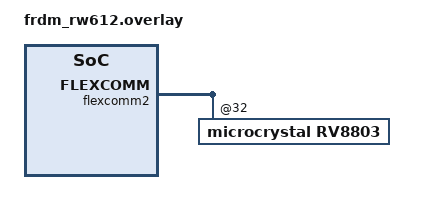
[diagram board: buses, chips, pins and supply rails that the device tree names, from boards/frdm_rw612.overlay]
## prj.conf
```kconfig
# Enable Peripheral
CONFIG_RTC=y

# Enable Bluetooth
CONFIG_BT=y
CONFIG_BT_PERIPHERAL=y
CONFIG_BT_DEVICE_NAME="ZephyrCTS"
CONFIG_BT_CTS=y

# Settings - Used to store real-time device configuration to flash.
CONFIG_FLASH=y
CONFIG_FLASH_PAGE_LAYOUT=y
CONFIG_FLASH_MAP=y
CONFIG_STREAM_FLASH=y
CONFIG_MPU_ALLOW_FLASH_WRITE=y

CONFIG_LOG=y

# Enable MCUmgr and dependencies.
CONFIG_NET_BUF=y
CONFIG_ZCBOR=y
CONFIG_CRC=y
CONFIG_MCUMGR=y
CONFIG_STREAM_FLASH=y
CONFIG_FLASH_MAP=y

# Some command handlers require a large stack.
CONFIG_SYSTEM_WORKQUEUE_STACK_SIZE=2304
CONFIG_MAIN_STACK_SIZE=2048

# Allow for large Bluetooth data packets.
CONFIG_BT_L2CAP_TX_MTU=498
CONFIG_BT_BUF_ACL_TX_SIZE=502
CONFIG_BT_BUF_ACL_RX_SIZE=502

# Enable the Bluetooth mcumgr transport (unauthenticated).
CONFIG_MCUMGR_TRANSPORT_BT=y
CONFIG_MCUMGR_TRANSPORT_BT_CONN_PARAM_CONTROL=y

# Enable the mcumgr Packet Reassembly feature over Bluetooth and its configuration dependencies.
# MCUmgr buffer size is optimized to fit one SMP packet divided into five Bluetooth Write Commands,
# transmitted with the maximum possible MTU value: 498 bytes.
CONFIG_MCUMGR_TRANSPORT_BT_REASSEMBLY=y
CONFIG_MCUMGR_TRANSPORT_NETBUF_SIZE=2475
CONFIG_MCUMGR_TRANSPORT_WORKQUEUE_STACK_SIZE=4608

# Disable Bluetooth ping support
CONFIG_BT_CTLR_LE_PING=n

# Enable most core commands.
CONFIG_FLASH=y
CONFIG_IMG_MANAGER=y
CONFIG_MCUMGR_GRP_IMG=y
CONFIG_MCUMGR_GRP_OS=y

# Ensure an MCUboot-compatible binary is generated.
CONFIG_BOOTLOADER_MCUBOOT=y
```

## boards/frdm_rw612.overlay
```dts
/* SPDX-License-Identifier: Apache-2.0 */

/ {
	aliases {
		rtc = &rv8803;
	};
};

&flexcomm2 {

	rv8803: rv8803@32 {
		compatible = "microcrystal,rv8803";
		status = "okay";
		reg = <0x32>;
	};
};
```

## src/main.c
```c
/*
 * Copyright (c) 2025, Dipak Shetty
 *
 * SPDX-License-Identifier: Apache-2.0
 */

#include <zephyr/kernel.h>
#include <zephyr/device.h>
#include <zephyr/drivers/rtc.h>
#include <zephyr/sys/util.h>

#include <zephyr/bluetooth/bluetooth.h>
#include <zephyr/bluetooth/hci.h>
#include <zephyr/bluetooth/conn.h>
#include <zephyr/bluetooth/uuid.h>
#include <zephyr/bluetooth/gatt.h>
#include <zephyr/bluetooth/services/cts.h>

#include <app_version.h>

const struct device *const rtc = DEVICE_DT_GET(DT_ALIAS(rtc));

static bool cts_ntf_enabled;

static const struct bt_data ad[] = {
	BT_DATA_BYTES(BT_DATA_FLAGS, (BT_LE_AD_GENERAL | BT_LE_AD_NO_BREDR)),
	BT_DATA_BYTES(BT_DATA_UUID16_ALL, BT_UUID_16_ENCODE(BT_UUID_CTS_VAL)),
#if defined(CONFIG_BT_EXT_ADV)
	BT_DATA(BT_DATA_NAME_COMPLETE, CONFIG_BT_DEVICE_NAME, sizeof(CONFIG_BT_DEVICE_NAME) - 1),
#endif /* CONFIG_BT_EXT_ADV */
};

#if !defined(CONFIG_BT_EXT_ADV)
static const struct bt_data sd[] = {
	BT_DATA(BT_DATA_NAME_COMPLETE, CONFIG_BT_DEVICE_NAME, sizeof(CONFIG_BT_DEVICE_NAME) - 1),
};
#endif /* !CONFIG_BT_EXT_ADV */

enum {
	STATE_CONNECTED,
	STATE_DISCONNECTED,
	STATE_BITS,
};

static ATOMIC_DEFINE(state, STATE_BITS);

static void adv_work_handler(struct k_work *work)
{
	int err;
#if !defined(CONFIG_BT_EXT_ADV)
	printk("Starting Legacy Advertising (connectable and scannable)\n");
	err = bt_le_adv_start(BT_LE_ADV_CONN_FAST_1, ad, ARRAY_SIZE(ad), sd, ARRAY_SIZE(sd));
	if (err) {
		printk("Advertising failed to start (err %d)\n", err);
		return;
	}

#else  /* CONFIG_BT_EXT_ADV */
	struct bt_le_adv_param adv_param = {
		.id = BT_ID_DEFAULT,
		.sid = 0U,
		.secondary_max_skip = 0U,
		.options = (BT_LE_ADV_OPT_EXT_ADV | BT_LE_ADV_OPT_CONN | BT_LE_ADV_OPT_CODED),
		.interval_min = BT_GAP_ADV_FAST_INT_MIN_2,
		.interval_max = BT_GAP_ADV_FAST_INT_MAX_2,
		.peer = NULL,
	};
	struct bt_le_ext_adv *adv;

	printk("Creating a Coded PHY connectable non-scannable advertising set\n");
	err = bt_le_ext_adv_create(&adv_param, NULL, &adv);
	if (err) {
		printk("Failed to create Coded PHY extended advertising set (err %d)\n", err);

		printk("Creating a non-Coded PHY connectable non-scannable advertising set\n");
		adv_param.options &= ~BT_LE_ADV_OPT_CODED;
		err = bt_le_ext_adv_create(&adv_param, NULL, &adv);
		if (err) {
			printk("Failed to create extended advertising set (err %d)\n", err);
			return 0;
		}
	}

	printk("Setting extended advertising data\n");
	err = bt_le_ext_adv_set_data(adv, ad, ARRAY_SIZE(ad), NULL, 0);
	if (err) {
		printk("Failed to set extended advertising data (err %d)\n", err);
		return 0;
	}

	printk("Starting Extended Advertising (connectable non-scannable)\n");
	err = bt_le_ext_adv_start(adv, BT_LE_EXT_ADV_START_DEFAULT);
	if (err) {
		printk("Failed to start extended advertising set (err %d)\n", err);
		return 0;
	}
#endif /* CONFIG_BT_EXT_ADV */

	printk("Advertising successfully started\n");
}

static K_WORK_DEFINE(adv_work, adv_work_handler);

static void connected(struct bt_conn *conn, uint8_t err)
{
	char addr[BT_ADDR_LE_STR_LEN];

	if (err) {
		printk("Connection failed, err 0x%02x %s\n", err, bt_hci_err_to_str(err));
	} else {
		bt_addr_le_to_str(bt_conn_get_dst(conn), addr, sizeof(addr));
		printk("Connected %s\n", addr);

		(void)atomic_set_bit(state, STATE_CONNECTED);
	}
}

static void disconnected(struct bt_conn *conn, uint8_t reason)
{
	char addr[BT_ADDR_LE_STR_LEN];
	bt_addr_le_to_str(bt_conn_get_dst(conn), addr, sizeof(addr));
	printk("Disconnected from %s, reason 0x%02x %s\n", addr, reason, bt_hci_err_to_str(reason));

	(void)atomic_set_bit(state, STATE_DISCONNECTED);
}

static void recycled_cb(void)
{
	printk("Connection object available from previous conn. Disconnect is complete!\n");
	k_work_submit(&adv_work);
}

BT_CONN_CB_DEFINE(conn_callbacks) = {
	.connected = connected,
	.disconnected = disconnected,
	.recycled = recycled_cb,
};

void notify_change(bool enabled)
{
	cts_ntf_enabled = enabled;

	if (cts_ntf_enabled) {
		printk("Time change notifications enabled\n");
	} else {
		printk("Time change notifications disabled\n");
	}
}

int cts_time_write(struct bt_cts_time_format *cts_time)
{
	struct rtc_time tm = {
		.tm_year = cts_time->year - 1900,
		.tm_mon = cts_time->mon - 1,
		.tm_mday = cts_time->mday,
		.tm_hour = cts_time->hours,
		.tm_min = cts_time->min,
		.tm_sec = cts_time->sec,
	};

	printf("Writing time: %04d-%02d-%02d %02d:%02d:%02d\n", tm.tm_year + 1900, tm.tm_mon + 1,
	       tm.tm_mday, tm.tm_hour, tm.tm_min, tm.tm_sec);

	return rtc_set_time(rtc, &tm);
}

int cts_time_read(struct bt_cts_time_format *cts_time)
{
	int ret = 0;
	struct rtc_time tm;

	ret = rtc_get_time(rtc, &tm);
	if (ret < 0) {
		printk("Cannot read date time: %d\n", ret);
		return ret;
	}
	printk("Current time: %04d-%02d-%02d %02d:%02d:%02d\n", tm.tm_year + 1900, tm.tm_mon + 1,
	       tm.tm_mday, tm.tm_hour, tm.tm_min, tm.tm_sec);

	cts_time->year = tm.tm_year + 1900;
	cts_time->mon = tm.tm_mon + 1; /* months starting from 1 */
	cts_time->mday = tm.tm_mday;   /* Day of month */
	cts_time->hours = tm.tm_hour;  /* hours */
	cts_time->min = tm.tm_min;     /* minutes */
	cts_time->sec = tm.tm_sec;     /* seconds */
	/* day of week starting from 1-monday, 7-sunday */
	cts_time->wday = (tm.tm_wday + 7) % 7 + 1; // Convert to 1-7 range (1=Monday, 7=Sunday)
	return 0;
}

static struct bt_cts_cb bt_cts = {
	&notify_change,
	&cts_time_write,
	&cts_time_read,
};

int main(void)
{
	int err;
	bt_addr_le_t addr;
	char addr_str[BT_ADDR_LE_STR_LEN];

	printk("Zephyr CTS Application %s\n", APP_VERSION_STRING);

	/* Check if the RTC is ready */
	if (!device_is_ready(rtc)) {
		printk("Device is not ready\n");
		return 0;
	}

	/* Initialize the Bluetooth Subsystem */
	err = bt_enable(NULL);
	if (err) {
		printk("Bluetooth init failed (err %d)\n", err);
		return 0;
	}
	printk("Bluetooth initialized\n");

	/* Get and print device address */
	bt_id_get(&addr, NULL);
	bt_addr_le_to_str(&addr, addr_str, sizeof(addr_str));
	printk("Bluetooth device address: %s\n", addr_str);

	bt_cts_init(&bt_cts);
	k_work_submit(&adv_work);
	return 0;
}
```
